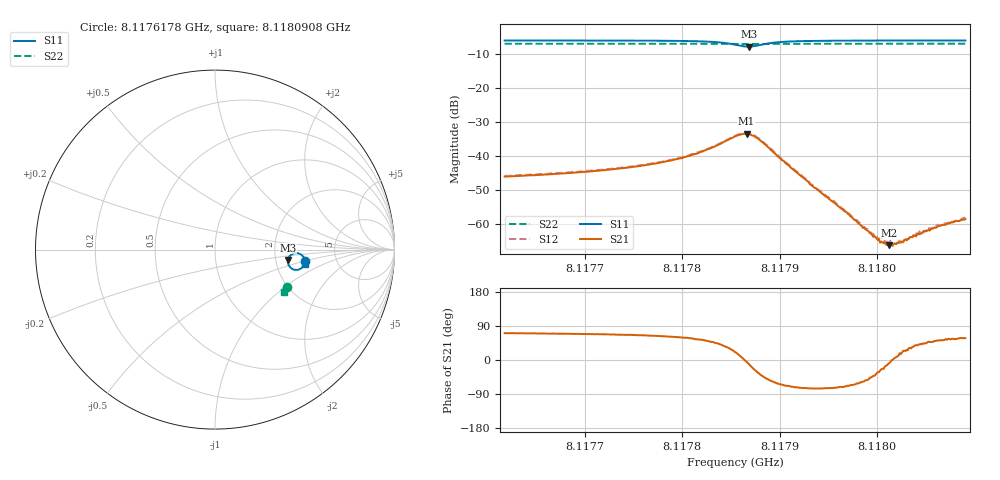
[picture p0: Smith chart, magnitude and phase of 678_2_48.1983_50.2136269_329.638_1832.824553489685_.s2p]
#  HZ  S  RI  R  50.00
! Rohde & Schwarz Vector Network Analyzer
! Rohde-Schwarz,ZNB20-2Port,1311601062101988,3.16
! Created: UTC 3/20/2024, 12:06:31 PM
! freq[Hz]  re:S11  im:S11  re:S21  im:S21  re:S12  im:S12  re:S22  im:S22
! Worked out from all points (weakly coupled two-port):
!   401 points, 8.1176178 GHz to 8.1180908 GHz, reference 50 ohm
!   highest |S21| = -33.41 dB at 8.1178661 GHz (marker M1); lowest = -66.3 dB at 8.1180127 GHz (marker M2)
!   lowest |S11| = -7.7 dB at 8.1178685 GHz (marker M3), VSWR 2.39, Z = 117 - j16.1 ohm
!   |S11| at or under -10 dB: nowhere
!   |S22| runs from -7.0 to -6.9 dB; largest |S21 - S12| = 0.00073
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8.11761779e9  0.5025 -0.0647  0.00164 0.00472  0.0017 0.00481  0.4016 -0.2091
8.11769701e9  0.5003 -0.0742  0.00213 0.00544  0.00217 0.00555  0.3991 -0.2143
8.11774076e9  0.498 -0.0812  0.00269 0.00614  0.00273 0.00624  0.3978 -0.2171
8.11777624e9  0.4943 -0.089  0.00361 0.00713  0.00366 0.00725  0.3963 -0.2194
8.11781644e9  0.482 -0.103  0.00652 0.00901  0.00655 0.00931  0.3945 -0.2224
8.11785428e9  0.4265 -0.1052  0.0182 0.00698  0.0185 0.00737  0.3908 -0.224
8.11786611e9  0.4057 -0.0674  0.0213 -0.00167  0.0218 -0.00163  0.39 -0.2227
8.11786847e9  0.4065 -0.0572  0.0207 -0.00395  0.0213 -0.00391  0.3901 -0.2224
8.11788148e9  0.439 -0.0213  0.0125 -0.0107  0.013 -0.011  0.3916 -0.2221
8.11790158e9  0.4805 -0.0281  0.00388 -0.00811  0.00407 -0.00829  0.3927 -0.2241
8.11793351e9  0.4969 -0.0495  0.000941 -0.00351  0.000981 -0.00367  0.3922 -0.227
8.11797016e9  0.5002 -0.0622  0.000537 -0.0013  0.000537 -0.00138  0.391 -0.2297
8.11799381e9  0.5007 -0.0674  0.000499 -0.000522  0.000505 -0.00056  0.3901 -0.2315
8.11800327e9  0.5007 -0.0693  0.000471 -0.000245  0.000536 -0.000292  0.3901 -0.232
8.11801037e9  0.5008 -0.0705  0.000477 -0.000117  0.000545 -7.77e-05  0.3897 -0.2324
8.11801273e9  0.5008 -0.071  0.000481 -6.67e-05  0.000468 -8.34e-05  0.3898 -0.2328
8.11801865e9  0.5007 -0.072  0.00051 4.99e-05  0.000507 3.02e-05  0.3895 -0.2331
8.1180281e9  0.5006 -0.0733  0.000524 0.000241  0.000544 0.000224  0.3891 -0.2337
8.11804111e9  0.5007 -0.0754  0.000546 0.000432  0.000609 0.000472  0.3886 -0.2346
8.11804821e9  0.5005 -0.0763  0.00058 0.000544  0.000559 0.00054  0.3884 -0.2349
8.11806003e9  0.5004 -0.0778  0.000563 0.000676  0.000608 0.000705  0.388 -0.2357
8.11809078e9  0.5 -0.0816  0.000638 0.001  0.000672 0.00102  0.387 -0.2377
